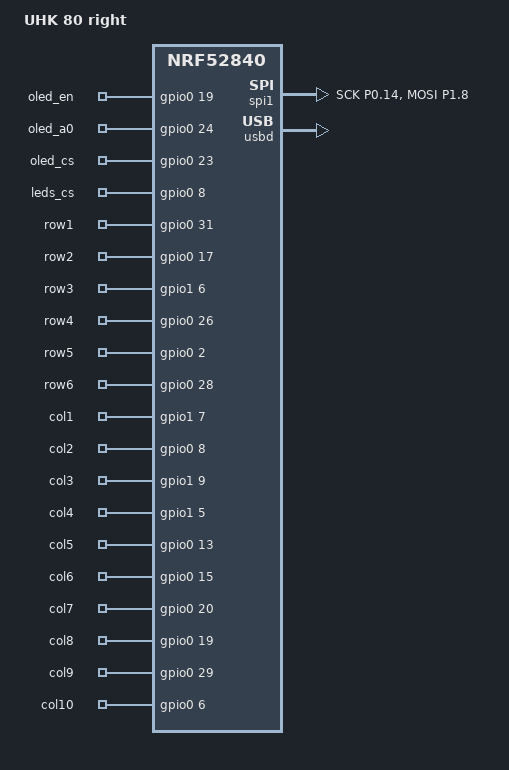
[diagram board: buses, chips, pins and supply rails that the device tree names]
/dts-v1/;
#include <nordic/nrf52840_qiaa.dtsi>

&gpio0 {
    status = "okay";
};

&gpio1 {
    status = "okay";
};

&pinctrl {
    spi1_default: spi1_default {
        group1 {
            psels = <NRF_PSEL(SPIM_SCK, 0, 14)>,
                    <NRF_PSEL(SPIM_MOSI, 1, 8)>;
        };
    };

    spi1_sleep: spi1_sleep {
        group1 {
            psels = <NRF_PSEL(SPIM_SCK, 0, 14)>,
                    <NRF_PSEL(SPIM_MOSI, 1, 8)>;
            low-power-enable;
        };
    };
};

&spi1 {
    compatible = "nordic,nrf-spi";
    status = "okay";
    pinctrl-0 = <&spi1_default>;
    pinctrl-1 = <&spi1_sleep>;
    pinctrl-names = "default", "sleep";
};

/ {
    model = "UHK 80 right";
    compatible = "uhk-80-right";

    chosen {
        zephyr,sram = &sram0;
        zephyr,flash = &flash0;
        zephyr,code-partition = &slot0_partition;
    };

    gpios {
        compatible = "gpio-keys";
        oled_en: oled_en {
            gpios = <&gpio0 19 GPIO_ACTIVE_HIGH>;
            label = "oled_en";
        };
        oled_a0: oled_a0 {
            gpios = <&gpio0 24 GPIO_ACTIVE_HIGH>;
            label = "oled_a0";
        };
        oled_cs: oled_cs {
            gpios = <&gpio0 23 GPIO_ACTIVE_HIGH>;
            label = "oled_cs";
        };
        leds_cs: leds_cs {
            gpios = <&gpio0 8 GPIO_ACTIVE_HIGH>;
            label = "leds_cs";
        };

        row1: row1 {
            gpios = <&gpio0 31 (GPIO_ACTIVE_HIGH)>;
            label = "row1";
        };
        row2: row2 {
            gpios = <&gpio0 17 (GPIO_ACTIVE_HIGH)>;
            label = "row2";
        };
        row3: row3 {
            gpios = <&gpio1 6 (GPIO_ACTIVE_HIGH)>;
            label = "row3";
        };
        row4: row4 {
            gpios = <&gpio0 26 (GPIO_ACTIVE_HIGH)>;
            label = "row4";
        };
        row5: row5 {
            gpios = <&gpio0 2 (GPIO_ACTIVE_HIGH)>;
            label = "row5";
        };
        row6: row6 {
            gpios = <&gpio0 28 (GPIO_ACTIVE_HIGH)>;
            label = "row6";
        };

        col1: col1 {
            gpios = <&gpio1 7 (GPIO_ACTIVE_HIGH | GPIO_PULL_DOWN)>;
            label = "col1";
         };
         col2: col2 {
             gpios = <&gpio0 8 (GPIO_ACTIVE_HIGH | GPIO_PULL_DOWN)>;
             label = "col2";
         };
         col3: col3 {
             gpios = <&gpio1 9 (GPIO_ACTIVE_HIGH | GPIO_PULL_DOWN)>;
             label = "col3";
         };
         col4: col4 {
             gpios = <&gpio1 5 (GPIO_ACTIVE_HIGH | GPIO_PULL_DOWN)>;
             label = "col4";
         };
         col5: col5 {
             gpios = <&gpio0 13 (GPIO_ACTIVE_HIGH | GPIO_PULL_DOWN)>;
             label = "col5";
         };
         col6: col6 {
             gpios = <&gpio0 15 (GPIO_ACTIVE_HIGH | GPIO_PULL_DOWN)>;
             label = "col6";
         };
         col7: col7 {
             gpios = <&gpio0 20 (GPIO_ACTIVE_HIGH | GPIO_PULL_DOWN)>;
             label = "col7";
         };
         col8: col8 {
            gpios = <&gpio0 19 (GPIO_ACTIVE_HIGH | GPIO_PULL_DOWN)>;
            label = "col8";
        };
        col9: col9 {
            gpios = <&gpio0 29 (GPIO_ACTIVE_HIGH | GPIO_PULL_DOWN)>;
            label = "col9";
        };
        col10: col10 {
            gpios = <&gpio0 6 (GPIO_ACTIVE_HIGH | GPIO_PULL_DOWN)>;
            label = "col10";
        };
 };

    aliases {
        oled-en = &oled_en;
        oled-a0 = &oled_a0;
        oled-cs = &oled_cs;
        leds-cs = &leds_cs;
        row1 = &row1;
        row2 = &row2;
        row3 = &row3;
        row4 = &row4;
        row5 = &row5;
        row6 = &row6;
        col1 = &col1;
        col2 = &col2;
        col3 = &col3;
        col4 = &col4;
        col5 = &col5;
        col6 = &col6;
        col7 = &col7;
        col8 = &col8;
        col9 = &col9;
        col10 = &col10;
    };
};

zephyr_udc0: &usbd {
    compatible = "nordic,nrf-usbd";
    status = "okay";
};

&flash0 {
    partitions {
        compatible = "fixed-partitions";
        #address-cells = <1>;
        #size-cells = <1>;

        boot_partition: partition@0 {
            label = "mcuboot";
            reg = <0x0 0xc000>;
        };
        slot0_partition: partition@c000 {
            label = "image-0";
            reg = <0xc000 0xa000>;
        };
        slot1_partition: partition@16000 {
            label = "image-1";
            reg = <0x16000 0xa000>;
        };
        scratch_partition: partition@20000 {
            label = "image-scratch";
            reg = <0x20000 0xa000>;
        };
        storage_partition: partition@2a000 {
            label = "storage";
            reg = <0x2a000 0x6000>;
        };
    };
};
